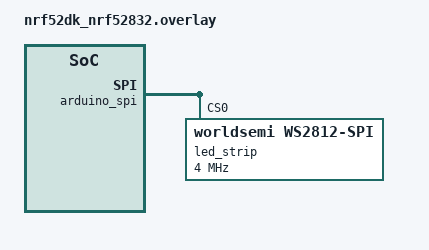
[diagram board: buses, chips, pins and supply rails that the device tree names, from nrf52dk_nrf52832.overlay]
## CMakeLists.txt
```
cmake_minimum_required(VERSION 3.20.0)
find_package(Zephyr REQUIRED HINTS $ENV{ZEPHYR_BASE})

project(matrix)


FILE(GLOB app_sources src/*.c src/*.cpp)
target_sources(app PRIVATE ${app_sources})
```

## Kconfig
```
mainmenu "LED Matrix Configuration"

source "Kconfig.zephyr"

config LED_MATRIX_WIDTH
  int "Width"
  default 8
  help
    Width of the LED matrix.

config LED_MATRIX_HEIGHT
  int "Height"
  default 8
  help
    Height of the LED matrix.
```

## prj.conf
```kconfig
CONFIG_SYS_CLOCK_HW_CYCLES_PER_SEC=32768
CONFIG_SYS_CLOCK_TICKS_PER_SEC=32768
CONFIG_XIP=y
CONFIG_IDLE_STACK_SIZE=320
CONFIG_LOG=y
CONFIG_BUILD_OUTPUT_HEX=y
CONFIG_CLOCK_CONTROL=y
CONFIG_UART_USE_RUNTIME_CONFIGURE=n
CONFIG_GEN_ISR_TABLES=y
CONFIG_BT_CTLR=y
CONFIG_THREAD_STACK_INFO=y
CONFIG_HEAP_MEM_POOL_SIZE=8192
CONFIG_ENTROPY_NRF5_BIAS_CORRECTION=y
CONFIG_FLASH=y
CONFIG_MPU_ALLOW_FLASH_WRITE=y
CONFIG_LED_STRIP=y
CONFIG_CPP=y
CONFIG_STD_CPP2B=y
CONFIG_REQUIRES_FULL_LIBCPP=y
CONFIG_CBPRINTF_LIBC_SUBSTS=y
CONFIG_BT=y
CONFIG_BT_PERIPHERAL=y
CONFIG_BT_SETTINGS=y
CONFIG_BT_SMP=y
CONFIG_BT_DEVICE_NAME="LED Matrix"
CONFIG_BT_CTLR_FILTER_ACCEPT_LIST=y
CONFIG_MEM_ATTR=y
CONFIG_SOC_NRF52832_ALLOW_SPIM_DESPITE_PAN_58=y
CONFIG_SETTINGS=y
CONFIG_NVS=y
CONFIG_SETTINGS_NVS=y
CONFIG_FLASH_MAP=y
CONFIG_FLASH_PAGE_LAYOUT=y
CONFIG_LED_MATRIX_WIDTH=16
CONFIG_LED_MATRIX_HEIGHT=16
```

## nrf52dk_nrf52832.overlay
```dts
#include <zephyr/dt-bindings/led/led.h>

&arduino_spi {
    compatible = "nordic,nrf-spim";

    led_strip: ws2812@0 {
        compatible = "worldsemi,ws2812-spi";

        reg = <0>;
        spi-max-frequency = <4000000>;

        chain-length = <256>;
        color-mapping = <LED_COLOR_ID_GREEN LED_COLOR_ID_RED LED_COLOR_ID_BLUE>;
        spi-one-frame = <0x70>;
        spi-zero-frame = <0x40>;
    };
};


/ {
    aliases {
        led-strip = &led_strip;
    };
};
```

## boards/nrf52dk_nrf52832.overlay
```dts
#include <zephyr/dt-bindings/led/led.h>

&arduino_spi {
    compatible = "nordic,nrf-spim";
    status = "okay";

    led_strip: ws2812@0 {
        compatible = "worldsemi,ws2812-spi";
        status = "okay";

        reg = <0>;
        spi-max-frequency = <4000000>;

        chain-length = <256>;
        color-mapping = <LED_COLOR_ID_GREEN LED_COLOR_ID_RED LED_COLOR_ID_BLUE>;
        spi-one-frame = <0x70>;
        spi-zero-frame = <0x40>;
    };
};


/ {
    aliases {
        led-strip = &led_strip;
    };
};
```

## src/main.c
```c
#include <zephyr/logging/log.h>

#include "led_strip_display.h"
#include "led_strip_svc.h"

#define LED_STRIP_NODE DT_ALIAS(led_strip)
#define PIXELS_COUNT DT_PROP(LED_STRIP_NODE, chain_length)

LOG_MODULE_REGISTER(led_strip_driver, LOG_LEVEL_DBG);

void display_passkey(struct bt_conn *conn, unsigned int passkey);

void hide_passkey(struct bt_conn *conn);

void handle_security_changed(struct bt_conn *conn, bt_security_t level, enum bt_security_err err);

static const struct device *strip_dev = DEVICE_DT_GET(LED_STRIP_NODE);

static const struct bt_data adv_data[] = {
    BT_DATA_BYTES(BT_DATA_FLAGS, BT_LE_AD_GENERAL | BT_LE_AD_NO_BREDR),
    BT_DATA_BYTES(BT_DATA_UUID128_ALL, LSS_SVC_UUID_VAL),
};

static struct led_rgb pixels[PIXELS_COUNT];

static lss_svc_data_t strip_svc_data;

static lsd_led_strip_t strip_display = {
    .rows = 16,
    .cols = 16,
    .gap_x = 1,
    .gap_y = 1,
    .pixels = pixels,
};

BT_CONN_CB_DEFINE(conn_callbacks) = {
    .security_changed = handle_security_changed,
};

static const struct bt_conn_auth_cb bt_auth_cb = {
    .passkey_display = &display_passkey,
    .cancel = &hide_passkey,
};

static bool bonding = false;

LSS_SVC_DEFINE(strip_svc, &strip_svc_data);

int main(void)
{
	memset(pixels, 0, sizeof(pixels));
	strip_svc_data = lss_svc_data_create(PIXELS_COUNT);

	int err = bt_enable(NULL);
	if (err)
	{
		LOG_ERR("Bluetooth init failed (err %d)\n", err);
		return 0;
	}

	err = bt_conn_auth_cb_register(&bt_auth_cb);
	if (err)
	{
		LOG_ERR("Failed to register auth cb (err %d)\n", err);
		return 0;
	}

	err = bt_le_adv_start(BT_LE_ADV_CONN_NAME, adv_data, ARRAY_SIZE(adv_data), NULL, 0);
	if (err)
	{
		LOG_ERR("Advertising failed to start (err %d)\n", err);
		return 0;
	}

	while (true)
	{
		if (!bonding)
		{
			lss_update(&strip_svc_data, strip_dev, pixels);
		}
		k_sleep(K_SECONDS(1));
	}

	return 0;
}

void display_passkey(struct bt_conn *conn, unsigned int passkey)
{
	LOG_INF("Display passkey\n");
	bonding = true;

	uint8_t digits[] = {0, 0, 0, 0, 0, 0};
	for (int i = 0; i < 6; i++)
	{
		digits[5 - i] = passkey % 10;
		passkey /= 10;
	}

	for (int i = 0; i < 6; i++)
	{
		lsd_display_digit(&strip_display, i, digits[i]);
	}

	int err = lsd_commit(&strip_display, strip_dev);
	if (err)
	{
		LOG_ERR("Failed to display passkey (err %d)\n", err);
		return;
	}
}

void hide_passkey(struct bt_conn *conn)
{
	LOG_INF("Hiding passkey\n");
	bonding = false;

	memset(pixels, 0, sizeof(pixels));
	int err = led_strip_update_rgb(strip_dev, pixels, PIXELS_COUNT);
	if (err)
	{
		LOG_ERR("Failed to hide passkey (err %d)\n", err);
		return;
	}
}

void handle_security_changed(struct bt_conn *conn, bt_security_t level, enum bt_security_err err)
{
	if (level >= BT_SECURITY_L2)
	{
		hide_passkey(conn);
	}
}
```

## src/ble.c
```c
#include <zephyr/bluetooth/bluetooth.h>
#include <zephyr/bluetooth/uuid.h>
#include <zephyr/bluetooth/gatt.h>
#include <zephyr/bluetooth/conn.h>

#include "ble.h"
#include "strip.h"

static ssize_t read_chain_length_chrc(struct bt_conn *, const struct bt_gatt_attr *, const void *, uint16_t, uint16_t, uint8_t);
static size_t read_led_index_chrc(struct bt_conn *, const struct bt_gatt_attr *, const void *, uint16_t, uint16_t, uint8_t);
static size_t write_led_index_chrc(struct bt_conn *, const struct bt_gatt_attr *, const void *, uint16_t, uint16_t, uint8_t);
static size_t read_color_chrc(struct bt_conn *, const struct bt_gatt_attr *, const void *, uint16_t, uint16_t, uint8_t);
static ssize_t write_color_chrc(struct bt_conn *, const struct bt_gatt_attr *, const void *, uint16_t, uint16_t, uint8_t);

#define LED_SVC_UUID_VAL BT_UUID_128_ENCODE(0x4fd3af2a, 0x10e8, 0x474f, 0x84d7, 0x722bcfd3efc3)
#define CHAIN_LENGTH_CHRC_UUID_VAL BT_UUID_128_ENCODE(0x410f7f12, 0xe051, 0x4b5d, 0xa8ed, 0x7d5619727b34)
#define LED_INDEX_CHRC_UUID_VAL BT_UUID_128_ENCODE(0x85289f22, 0xbaa7, 0x447b, 0xacb2, 0xd961c06ecabf)
#define COLOR_CHRC_UUID_VAL BT_UUID_128_ENCODE(0x0c903aa6, 0xde65, 0x44c4, 0x9cde, 0x8873267e16c0)

static const struct bt_uuid_128 led_svc_uuid = BT_UUID_INIT_128(LED_SVC_UUID_VAL);

static const struct bt_uuid_128 chain_length_chrc_uuid = BT_UUID_INIT_128(CHAIN_LENGTH_CHRC_UUID_VAL);

static const struct bt_uuid_128 led_index_chrc_uuid = BT_UUID_INIT_128(LED_INDEX_CHRC_UUID_VAL);

static const struct bt_uuid_128 color_chrc_uuid = BT_UUID_INIT_128(COLOR_CHRC_UUID_VAL);

static const struct bt_data adv_data[] = {
    BT_DATA_BYTES(BT_DATA_FLAGS, BT_LE_AD_GENERAL | BT_LE_AD_NO_BREDR),
    BT_DATA_BYTES(BT_DATA_UUID128_ALL, LED_SVC_UUID_VAL)};

static uint16_t chain_length = PIXELS_COUNT;
static int16_t led_index;
static uint8_t color[3];

BT_GATT_SERVICE_DEFINE(led_service,
                       BT_GATT_PRIMARY_SERVICE(&led_svc_uuid),
                       BT_GATT_CHARACTERISTIC(&chain_length_chrc_uuid,
                                              BT_GATT_CHRC_READ,
                                              BT_GATT_PERM_READ,
                                              &read_chain_length_chrc,
                                              NULL,
                                              &chain_length),
                       BT_GATT_CHARACTERISTIC(&led_index_chrc_uuid,
                                              BT_GATT_CHRC_READ | BT_GATT_CHRC_WRITE,
                                              BT_GATT_PERM_READ | BT_GATT_PERM_WRITE,
                                              &read_led_index_chrc,
                                              &write_led_index_chrc,
                                              &led_index),
                       BT_GATT_CHARACTERISTIC(&color_chrc_uuid,
                                              BT_GATT_CHRC_WRITE,
                                              BT_GATT_PERM_WRITE,
                                              NULL,
                                              &write_color_chrc,
                                              &color));

int ble_init(void)
{
    int err = bt_enable(NULL);
    if (err)
    {
        return err;
    }

    err = bt_le_adv_start(BT_LE_ADV_CONN_NAME, adv_data, ARRAY_SIZE(adv_data), NULL, 0);
    if (err)
    {
        return err;
    }

    return 0;
}

static ssize_t read_chain_length_chrc(struct bt_conn *conn, const struct bt_gatt_attr *attr, const void *buf, uint16_t len, uint16_t offset, uint8_t flags)
{
    return bt_gatt_attr_read(conn, attr, buf, len, offset, attr->user_data, sizeof(chain_length));
}

static size_t read_led_index_chrc(struct bt_conn *conn, const struct bt_gatt_attr *attr, const void *buf, uint16_t len, uint16_t offset, uint8_t flags)
{
    return bt_gatt_attr_read(conn, attr, buf, len, offset, attr->user_data, sizeof(led_index));
}

static size_t write_led_index_chrc(struct bt_conn *conn, const struct bt_gatt_attr *attr, const void *raw_buf, uint16_t len, uint16_t offset, uint8_t flags)
{
    uint8_t *buf = ((uint8_t *)raw_buf) + offset;

    if (len != 2)
    {
        printk("Invalid data length.\n");
        return BT_GATT_ERR(BT_ATT_ERR_INVALID_ATTRIBUTE_LEN);
    }

    int16_t new_index = (int16_t)buf[0] | ((int16_t)buf[1] << 8);

    if (led_index < -1 || led_index >= chain_length)
    {
        printk("Invalid LED index.\n");
        return BT_GATT_ERR(BT_ATT_ERR_UNLIKELY);
    }

    led_index = new_index;

    return len;
}

static size_t read_color_chrc(struct bt_conn *conn, const struct bt_gatt_attr *attr, const void *buf, uint16_t len, uint16_t offset, uint8_t flags)
{
    struct led_rgb c = strip_get(led_index);
    color[0] = c.r;
    color[1] = c.g;
    color[2] = c.b;
    return bt_gatt_attr_read(conn, attr, buf, len, offset, attr->user_data, sizeof(color));
}

static ssize_t write_color_chrc(struct bt_conn *conn, const struct bt_gatt_attr *attr, const void *raw_buf, uint16_t len, uint16_t offset, uint8_t flags)
{
    uint8_t *buf = ((uint8_t *)raw_buf) + offset;

    if (len != 3)
    {
        printk("Invalid data length.\n");
        return BT_GATT_ERR(BT_ATT_ERR_INVALID_ATTRIBUTE_LEN);
    }

    struct led_rgb color = {
        .r = buf[0],
        .g = buf[1],
        .b = buf[2]};

    int err;
    if (led_index < 0)
    {
        err = strip_set_all(color);
    }
    else
    {
        err = strip_set(led_index, color);
    }

    if (err)
    {
        printk("Failed to write to LED strip (err %d)\n", err);
        buf[0] = (uint8_t)err;
        return BT_GATT_ERR(BT_ATT_ERR_UNLIKELY);
    }

    return len;
}
```

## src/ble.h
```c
#ifndef BLE_H
#define BLE_H

int ble_init(void);

#endif
```

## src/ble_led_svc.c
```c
#include "ble_led_svc.h"

#include <math.h>

#include <zephyr/kernel.h>
#include <zephyr/sys/byteorder.h>

const struct bt_uuid_128 ble_led_svc_uuid = BT_UUID_INIT_128(BLE_LED_SVC_UUID_VAL);

const struct bt_uuid_128 ble_led_svc_length_chrc_uuid = BT_UUID_INIT_128(BLE_LED_SVC_LENGTH_CHRC_UUID_VAL);

const struct bt_uuid_128 ble_led_svc_index_chrc_uuid = BT_UUID_INIT_128(BLE_LED_SVC_INDEX_CHRC_UUID_VAL);

const struct bt_uuid_128 ble_led_svc_color_chrc_uuid = BT_UUID_INIT_128(BLE_LED_SVC_COLOR_CHRC_UUID_VAL);

K_FIFO_DEFINE(update_led_queue);

void update_led(void)
{
    while (true)
    {
        struct ble_led_svc *svc = k_fifo_get(&update_led_queue, K_FOREVER);
        int err = led_strip_update_rgb(svc->device, svc->color, svc->length);
        if (err)
        {
            printk("Failed to update LED strip (err %d)\n", err);
        }
    }
}

K_THREAD_DEFINE(
    update_led_thread, BLE_LED_SVC_UPDATE_LED_THREAD_STACK_SIZE, update_led,
    NULL, NULL, NULL, 10, 0, 0);

ssize_t ble_led_svc_read_length_chrc(
    struct bt_conn *conn,
    const struct bt_gatt_attr *attr,
    void *buf,
    uint16_t len,
    uint16_t offset)
{
    if (offset)
    {
        printk("Invalid offset\n");
        return BT_GATT_ERR(BT_ATT_ERR_INVALID_OFFSET);
    }

    struct ble_led_svc *svc = attr->user_data;
    return bt_gatt_attr_read(conn, attr, buf, len, offset, &svc->length, sizeof(svc->length));
}

ssize_t ble_led_svc_read_index_chrc(
    struct bt_conn *conn,
    const struct bt_gatt_attr *attr,
    void *buf,
    uint16_t len,
    uint16_t offset)
{
    if (offset)
    {
        printk("Invalid offset\n");
        return BT_GATT_ERR(BT_ATT_ERR_INVALID_OFFSET);
    }

    struct ble_led_svc *svc = attr->user_data;
    return bt_gatt_attr_read(conn, attr, buf, len, offset, &svc->index, sizeof(svc->index));
}

ssize_t ble_led_svc_write_index_chrc(
    struct bt_conn *conn,
    const struct bt_gatt_attr *attr,
    const void *buf,
    uint16_t len,
    uint16_t offset,
    uint8_t flags)
{
    if (offset)
    {
        printk("Invalid offset\n");
        return BT_GATT_ERR(BT_ATT_ERR_INVALID_OFFSET);
    }

    struct ble_led_svc *svc = attr->user_data;
    int16_t *value = (int16_t *)buf;

    if (len != sizeof(svc->index))
    {
        printk("Invalid attribute length\n");
        return BT_GATT_ERR(BT_ATT_ERR_INVALID_ATTRIBUTE_LEN);
    }

    if (*value < -1 || *value >= svc->length)
    {
        printk("Invalid index\n");
        return BT_GATT_ERR(BT_ATT_ERR_INVALID_PDU);
    }

    svc->index = *value;

    return len;
}

// TODO(magmast): With hardcoded 16 pixels per row, this module cannot be reused for other LED matrices.
size_t map_index(int16_t index)
{
    size_t row = (size_t)floor(index / 16);

    if (row % 2 == 0)
    {
        return row * 16 + index % 16;
    }

    return row * 16 + 15 - index % 16;
}

ssize_t ble_led_svc_read_color_chrc(
    struct bt_conn *conn,
    const struct bt_gatt_attr *attr,
    void *buf,
    uint16_t len,
    uint16_t offset)
{
    if (offset)
    {
        printk("Invalid offset\n");
        return BT_GATT_ERR(BT_ATT_ERR_INVALID_OFFSET);
    }

    struct ble_led_svc *svc = attr->user_data;
    size_t idx = map_index(svc->index);

    if (idx < 0)
    {
        printk("Cannot read color for index %d\n", idx);
        return BT_GATT_ERR(BT_ATT_ERR_UNLIKELY);
    }

    struct led_rgb *color = &svc->color[idx];

    return bt_gatt_attr_read(conn, attr, buf, len, offset, color, sizeof(*color));
}

ssize_t ble_led_svc_write_color_chrc(
    struct bt_conn *conn,
    const struct bt_gatt_attr *attr,
    const void *buf,
    uint16_t len,
    uint16_t offset,
    uint8_t flags)
{
    if (offset)
    {
        printk("Invalid offset\n");
        return BT_GATT_ERR(BT_ATT_ERR_INVALID_OFFSET);
    }

    struct ble_led_svc *svc = attr->user_data;
    uint8_t *value = (uint8_t *)buf + offset;

    if (len != 3)
    {
        printk("Invalid attribute length\n");
        return BT_GATT_ERR(BT_ATT_ERR_INVALID_ATTRIBUTE_LEN);
    }

    size_t idx = map_index(svc->index);

    if (idx > 0)
    {
        printk("Write color rgb(%d, %d, %d) for index %d\n", value[0], value[1], value[2], idx);
        struct led_rgb *color = &svc->color[idx];
        color->r = value[0];
        color->g = value[1];
        color->b = value[2];
    }
    else
    {
        memset(svc->color, 0, sizeof(svc->color));
    }

    k_fifo_put(&update_led_queue, svc);

    return len;
}
```

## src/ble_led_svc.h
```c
#ifndef BLE_LED_SVC_H
#define BLE_LED_SVC_H

#include <zephyr/device.h>
#include <zephyr/bluetooth/bluetooth.h>
#include <zephyr/bluetooth/gatt.h>
#include <zephyr/bluetooth/uuid.h>
#include <zephyr/drivers/led_strip.h>

#ifndef BLE_LED_SVC_UPDATE_LED_THREAD_STACK_SIZE
/**
 * @brief Size of the stack for the update LED thread.
 */
#define BLE_LED_SVC_UPDATE_LED_THREAD_STACK_SIZE 512
#endif

#ifndef BLE_LED_SVC_UPDATE_LED_THREAD_PRIORITY
/**
 * @brief Priority of the update LED thread.
 */
#define BLE_LED_SVC_UPDATE_LED_THREAD_PRIORITY 10
#endif

/**
 * @brief LED service UUID value.
 */
#define BLE_LED_SVC_UUID_VAL BT_UUID_128_ENCODE(0x4fd3af2a, 0x10e8, 0x474f, 0x84d7, 0x722bcfd3efc3)

/**
 * @brief Length characteristic UUID value.
 */
#define BLE_LED_SVC_LENGTH_CHRC_UUID_VAL BT_UUID_128_ENCODE(0x410f7f12, 0xe051, 0x4b5d, 0xa8ed, 0x7d5619727b34)

/**
 * @brief Index characteristic UUID value.
 */
#define BLE_LED_SVC_INDEX_CHRC_UUID_VAL BT_UUID_128_ENCODE(0x85289f22, 0xbaa7, 0x447b, 0xacb2, 0xd961c06ecabf)

/**
 * @brief Color characteristic UUID value.
 */
#define BLE_LED_SVC_COLOR_CHRC_UUID_VAL BT_UUID_128_ENCODE(0x0c903aa6, 0xde65, 0x44c4, 0x9cde, 0x8873267e16c0)

/**
 * @brief Defines a BLE LED service.
 * @param _name Name of the service.
 * @param _data Pointer to the service data.
 */
#define BLE_LED_SVC_DEFINE(_name, _data)                           \
    BT_GATT_SERVICE_DEFINE(                                        \
        _name,                                                     \
        BT_GATT_PRIMARY_SERVICE(&ble_led_svc_uuid),                \
        BT_GATT_CHARACTERISTIC(                                    \
            (const struct bt_uuid *)&ble_led_svc_length_chrc_uuid, \
            BT_GATT_CHRC_READ,                                     \
            BT_GATT_PERM_READ,                                     \
            &ble_led_svc_read_length_chrc, NULL, _data),           \
        BT_GATT_CHARACTERISTIC(                                    \
            (const struct bt_uuid *)&ble_led_svc_index_chrc_uuid,  \
            BT_GATT_CHRC_READ | BT_GATT_CHRC_WRITE,                \
            BT_GATT_PERM_READ | BT_GATT_PERM_WRITE,                \
            &ble_led_svc_read_index_chrc,                          \
            &ble_led_svc_write_index_chrc, _data),                 \
        BT_GATT_CHARACTERISTIC(                                    \
            (const struct bt_uuid *)&ble_led_svc_color_chrc_uuid,  \
            BT_GATT_CHRC_READ | BT_GATT_CHRC_WRITE,                \
            BT_GATT_PERM_READ | BT_GATT_PERM_WRITE,                \
            &ble_led_svc_read_color_chrc,                          \
            &ble_led_svc_write_color_chrc, _data))

/**
 * @brief LED service data.
 * @note Remember to allocate the color array equal to the length of the LED strip.
 */
struct ble_led_svc
{
    /**
     * @brief Device controlled by the service.
     */
    const struct device *device;

    /**
     * @brief Length of the LED strip.
     */
    uint16_t length;

    /**
     * @brief Index for color characteristic.
     * @details It's stored in a way seen by the user of the service. It has to be mapped to the actual index in the LED strip on use.
     */
    int16_t index;

    /**
     * @brief Color of the LED strip.
     */
    struct led_rgb *color;
};

/**
 * @brief LED service uuid.
 */
extern const struct bt_uuid_128 ble_led_svc_uuid;

/**
 * @brief Length characteristic uuid.
 */
extern const struct bt_uuid_128 ble_led_svc_length_chrc_uuid;

/**
 * @brief Index characteristic uuid.
 */
extern const struct bt_uuid_128 ble_led_svc_index_chrc_uuid;

/**
 * @brief Color characteristic uuid.
 */
extern const struct bt_uuid_128 ble_led_svc_color_chrc_uuid;

/**
 * @brief Callback for reading the length characteristic.
 */
ssize_t ble_led_svc_read_length_chrc(
    struct bt_conn *conn,
    const struct bt_gatt_attr *attr,
    void *buf,
    uint16_t len,
    uint16_t offset);

/**
 * @brief Callback for reading the index characteristic.
 */
ssize_t ble_led_svc_read_index_chrc(
    struct bt_conn *conn,
    const struct bt_gatt_attr *attr,
    void *buf,
    uint16_t len,
    uint16_t offset);

/**
 * @brief Callback for writing the index characteristic.
 */
ssize_t ble_led_svc_write_index_chrc(
    struct bt_conn *conn,
    const struct bt_gatt_attr *attr,
    const void *buf,
    uint16_t len,
    uint16_t offset,
    uint8_t flags);

/**
 * @brief Callback for reading the color characteristic.
 */
ssize_t ble_led_svc_read_color_chrc(
    struct bt_conn *conn,
    const struct bt_gatt_attr *attr,
    void *buf,
    uint16_t len,
    uint16_t offset);

/**
 * @brief Callback for writing the color characteristic.
 */
ssize_t ble_led_svc_write_color_chrc(
    struct bt_conn *conn,
    const struct bt_gatt_attr *attr,
    const void *buf,
    uint16_t len,
    uint16_t offset,
    uint8_t flags);

#endif
```

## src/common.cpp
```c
#include "common.hpp"

lsd::Error::~Error() = default;
```

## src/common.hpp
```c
#pragma once

#include <variant>

namespace lsd {
class Error {
public:
  virtual ~Error();

  virtual const char *message() const = 0;
};

constexpr const char *message(const Error &error) { return error.message(); }

class InvalidIndexError : public Error {
public:
  const char *message() const override { return "Invalid index."; }
};

class InvalidCharacterError : public Error {
public:
  const char *message() const override { return "Invalid character."; }
};

using WriteError = std::variant<InvalidIndexError, InvalidCharacterError>;

constexpr const char *message(const WriteError &error) {
  return std::visit([](const auto &error) { return message(error); }, error);
}

struct Vector2 {
  std::size_t x;

  std::size_t y;

  constexpr Vector2() = default;

  constexpr Vector2(const std::size_t x, const std::size_t y) : x{x}, y{y} {}
};
}; // namespace lsd
```

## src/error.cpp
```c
#include "error.hpp"

lsd::Error::~Error() = default;
```

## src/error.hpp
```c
#pragma once

#include <variant>

namespace lsd {
class Error {
public:
  virtual ~Error();

  virtual const char *message() const = 0;
};

class InvalidIndexError : public Error {
public:
  const char *message() const override { return "Invalid index."; }
};

class InvalidCharacterError : public Error {
public:
  const char *message() const override { return "Invalid character."; }
};

using WriteError = std::variant<InvalidIndexError, InvalidCharacterError>;

constexpr const char *message(const WriteError &error) {
  return std::visit([](const auto &error) { return error.message(); }, error);
}

}; // namespace lsd
```

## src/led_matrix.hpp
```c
#pragma once

#include <cstddef>

#include <array>
#include <expected>
#include <string_view>

#include <zephyr/drivers/led_strip.h>
#include <zephyr/kernel.h>

#include "common.hpp"

LOG_MODULE_DECLARE(lsd, CONFIG_LOG_DEFAULT_LEVEL);

namespace lsd {
template <Vector2 SIZE> class LEDMatrix {
public:
  LEDMatrix(const struct device *_device) : _device(_device) {}

  std::expected<const led_rgb *, InvalidIndexError>
  get_pixel(std::size_t row, std::size_t col) const {
    if (row >= SIZE.x || col >= SIZE.y) {
      return std::unexpected(InvalidIndexError());
    }

    const auto index = get_index(row, col);
    return &_pixels[index];
  }

  std::expected<const led_rgb *, InvalidIndexError>
  get_pixel(const Vector2 &point) const {
    return get_pixel(point.x, point.y);
  }

  std::expected<const led_rgb *, InvalidIndexError>
  get_pixel(const std::size_t index) const {
    if (index >= SIZE.x * SIZE.y) {
      return std::unexpected(InvalidIndexError());
    }
    const auto point = get_point(index);
    return get_pixel(point);
  }

  std::expected<void, InvalidIndexError>
  set_pixel(std::size_t row, std::size_t col, const led_rgb &&color) {
    if (row >= SIZE.x || col >= SIZE.y) {
      return std::unexpected(InvalidIndexError());
    }

    LOG_INF("Setting pixel at (%d, %d) to (%d, %d, %d)", row, col, color.r,
            color.g, color.b);

    const auto index = get_index(row, col);
    _pixels[index] = std::move(color);

    return {};
  }

  std::expected<void, InvalidIndexError> set_pixel(const Vector2 &point,
                                                   const led_rgb &&color) {
    return set_pixel(point.x, point.y, std::move(color));
  }

  std::expected<void, InvalidIndexError> set_pixel(const std::size_t index,
                                                   const led_rgb &&color) {
    if (index >= SIZE.x * SIZE.y) {
      return std::unexpected(InvalidIndexError());
    }
    const auto point = get_point(index);
    return set_pixel(point, std::move(color));
  }

  void fill(const led_rgb &color) {
    std::fill(std::begin(_pixels), std::end(_pixels), color);
  }

  void clear() { fill(led_rgb{0, 0, 0}); }

  std::expected<void, int> commit() {
    const auto result =
        led_strip_update_rgb(_device, std::data(_pixels), SIZE.x * SIZE.y);
    if (result) {
      return std::unexpected(result);
    }

    return {};
  }

private:
  const device *_device;

  std::array<led_rgb, SIZE.x * SIZE.y> _pixels{};

  std::size_t get_index(const std::size_t row, const std::size_t col) const {
    const auto mapped_col = row % 2 == 0 ? SIZE.x - col - 1 : col;
    return row * SIZE.x + mapped_col;
  }

  Vector2 get_point(std::size_t index) {
    const auto row = index / SIZE.x;
    const auto col = index % SIZE.x;
    return {row, col};
  }
};

}; // namespace lsd
```

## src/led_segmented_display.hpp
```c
#pragma once

#include <variant>

#include "common.hpp"
#include "led_matrix.hpp"

namespace lsd {
template <Vector2 SIZE> class LEDSegmentedDisplay {
public:
  LEDSegmentedDisplay(LEDMatrix<SIZE> *matrix) : _matrix{matrix} {}

  void set_color(const led_rgb &&color) { _color = std::move(color); }

  void clear() {
    _cursor = {0, 0};
    _matrix->clear();
  }

  std::expected<void, WriteError> write(const char ch) {
    if (ch < '0' || ch > '9') {
      return std::unexpected(InvalidCharacterError());
    }

    const auto index = ch - '0';
    const auto character = _CHARACTERS[index];

    for (std::size_t row = 0; row < 5; row++) {
      for (std::size_t col = 0; col < 3; col++) {
        const auto bit = 1 << (row * 3 + col);
        const auto color = (character & bit) ? _color : led_rgb{0, 0, 0};

        const auto result = _matrix->set_pixel(row + _cursor.y * SEGMENT_HEIGHT,
                                               col + _cursor.x * SEGMENT_WIDTH,
                                               std::move(color));
        if (!result) {
          return result;
        }
      }
    }

    _cursor.x++;
    if (_cursor.x * SEGMENT_WIDTH + _CHAR_WIDTH >= SIZE.x) {
      _cursor.x = 0;
      _cursor.y++;
    }

    if (_cursor.y * SEGMENT_HEIGHT + _CHAR_HEIGHT >= SIZE.y) {
      _cursor.y = 0;
    }

    return {};
  }

  std::expected<void, WriteError> write(const std::string_view text) {
    for (const auto ch : text) {
      const auto result = write(ch);
      if (!result) {
        return result;
      }
    }

    return {};
  }

private:
  static constexpr std::uint8_t SEGMENT_WIDTH = 4;

  static constexpr std::uint8_t SEGMENT_HEIGHT = 7;

  static constexpr std::uint8_t _CHAR_WIDTH = 3;

  static constexpr std::uint8_t _CHAR_HEIGHT = 5;

  static constexpr std::array<uint16_t, 10> _CHARACTERS{
      0b111101101101111, // 0
      0b100100101110100, // 1
      0b111001111100111, // 2
      0b111100111100111, // 3
      0b100100111101101, // 4
      0b111100111001111, // 5
      0b111101111001111, // 6
      0b100100100100111, // 7
      0b111101111101111, // 8
      0b111100111101111, // 6
  };

  LEDMatrix<SIZE> *_matrix;

  Vector2 _cursor;

  led_rgb _color{64, 64, 64};
};
}; // namespace lsd
```

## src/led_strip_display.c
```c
#include "led_strip_display.h"

#define PIXELS_SIZE 14

static const uint8_t digit_width = 3;

static const uint8_t digit_height = 5;

static const int8_t digit_pixels[10][PIXELS_SIZE] = {
    {0, 1, 2, 3, 5, 6, 8, 9, 11, 12, 13, 14, -1},
    {2, 4, 5, 6, 8, 11, 14, -1},
    {0, 1, 2, 5, 6, 7, 8, 9, 12, 13, 14, -1},
    {0, 1, 2, 5, 6, 7, 8, 11, 12, 13, 14, -1},
    {0, 3, 5, 6, 7, 8, 11, 14, -1},
    {0, 1, 2, 3, 6, 7, 8, 11, 12, 13, 14, -1},
    {0, 1, 2, 3, 6, 7, 8, 9, 11, 12, 13, 14, -1},
    {0, 1, 2, 5, 8, 11, 14, -1},
    {0, 1, 2, 3, 5, 6, 7, 8, 9, 11, 12, 13, 14, -1},
    {0, 1, 2, 3, 5, 6, 7, 8, 11, 14, -1}};

const int lsd_err_ok = 0;

const int lsd_err_not_a_digit = -1;

const int8_t *get_digit_pixels(uint8_t digit)
{
	return digit_pixels[digit];
}

int lsd_display_digit(lsd_led_strip_t *strip, uint8_t position, uint8_t digit)
{
	if (digit > 9)
	{
		return lsd_err_not_a_digit;
	}

	uint8_t start_pos = position * (digit_width + strip->gap_x);
	uint8_t start_row = start_pos / strip->cols * (digit_height + strip->gap_y);
	uint8_t start_col = start_pos % strip->cols;

	const int8_t *pixel = get_digit_pixels(digit);
	for (; *pixel > -1; pixel++)
	{
		uint8_t dpos = *pixel;
		uint8_t drow = dpos / digit_width;
		uint8_t dcol = dpos % digit_width;

		uint8_t row = drow + start_row;
		uint8_t col = dcol + start_col;
		if (row % 2 == 0)
		{
			col = strip->cols - col - 1;
		}

		strip->pixels[row * strip->cols + col].r = 255;
	}

	return lsd_err_ok;
}

int lsd_commit(lsd_led_strip_t *strip, const struct device *dev)
{
	return led_strip_update_rgb(dev, strip->pixels, strip->rows * strip->cols);
}
```

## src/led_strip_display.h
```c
#ifndef LED_STRIP_DISPLAY_H
#define LED_STRIP_DISPLAY_h

#include <stdint.h>

#include <zephyr/drivers/led_strip.h>

extern const int lsd_err_ok;

extern const int lsd_err_not_a_digit;

/**
 * @brief Structure representing an LED strip used to display digits.
 */
struct lsd_led_strip
{
	/**
	 * @brief The number of rows in the LED strip.
	 */
	uint8_t rows;

	/**
	 * @brief The number of columns in the LED strip.
	 */
	uint8_t cols;

	/**
	 * @brief The gap between the digits in the x direction.
	 */
	uint8_t gap_x;

	/**
	 * @brief The gap between the digits in the y direction.
	 */
	uint8_t gap_y;

	/**
	 * @brief The pixels of the LED strip.
	 */
	struct led_rgb *pixels;
};

typedef struct lsd_led_strip lsd_led_strip_t;

/**
 * @brief Display a digit on the LED strip.
 * @param strip The LED strip to display the digit on.
 * @param position The position of the digit on the LED strip.
 * @param digit The digit to display.
 * @returns `lsd_err_ok` if the digit was displayed successfully, `lsd_err_not_a_digit` otherwise.
 * @note User is responsible for ensuring that digit does not overflow the LED strip rows.
 */
int lsd_display_digit(lsd_led_strip_t *strip, uint8_t position, uint8_t digit);

/**
 * @brief Commit the LED strip data to the hardware.
 */
int lsd_commit(lsd_led_strip_t *strip, const struct device *dev);

#endif
```
